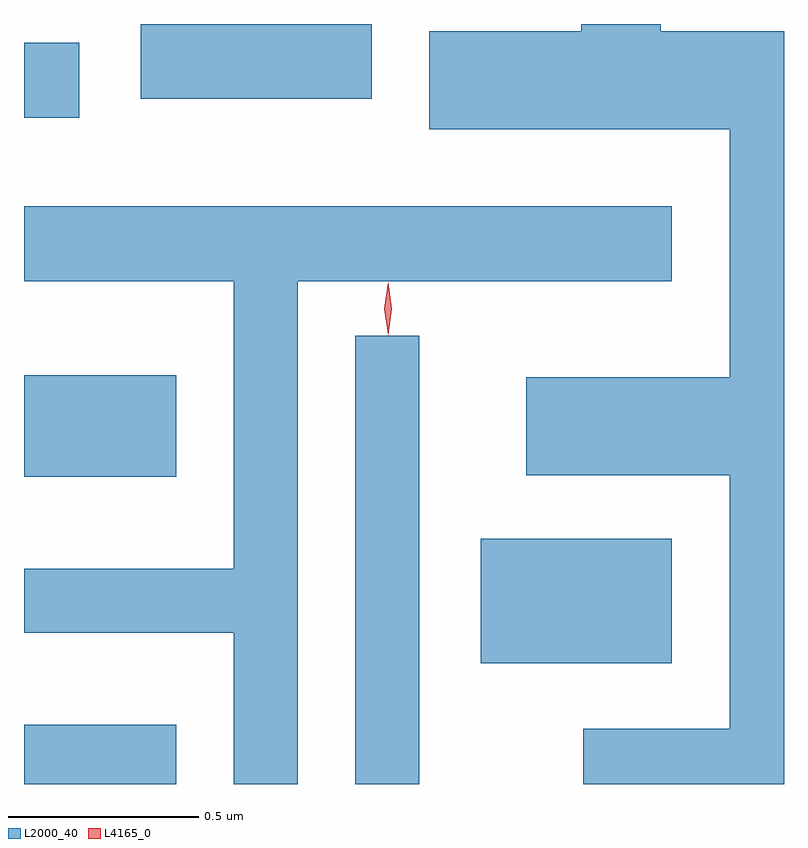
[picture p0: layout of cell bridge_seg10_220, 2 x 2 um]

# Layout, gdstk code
import gdstk
lib = gdstk.Library(unit=1e-6, precision=1e-09)
def R(c, l, rs):  # rectangles x0, y0, x1, y1
    for r in rs: c.add(gdstk.rectangle(r[:2], r[2:], *l))
def P(c, l, *ps):  # polygons
    for p in ps: c.add(gdstk.Polygon(p, *l))
L2000_40 = (2000, 40)
L4165_0 = (4165, 0)

bridge_seg10_220 = lib.new_cell('bridge_seg10_220')
R(bridge_seg10_220, L2000_40, [(1718.809,2140.993,1719.209,2141.149), (1719.681,2140.993,1719.849,2142.173), (1720.011,2141.311,1720.514,2141.639), (1718.809,2141.801,1719.209,2142.069), (1718.809,2142.746,1718.954,2142.944), (1719.116,2142.796,1719.724,2142.993)])
P(bridge_seg10_220, L2000_40, [(1720.809,2142.974),(1720.484,2142.974),(1720.484,2142.993),(1720.276,2142.993),(1720.276,2142.974),(1719.876,2142.974),(1719.876,2142.716),(1720.666,2142.716),(1720.666,2142.064),(1720.131,2142.064),(1720.131,2141.806),(1720.666,2141.806),(1720.666,2141.139),(1720.281,2141.139),(1720.281,2140.993),(1720.809,2140.993)],
  [(1719.529,2142.316),(1720.514,2142.316),(1720.514,2142.514),(1718.809,2142.514),(1718.809,2142.316),(1719.361,2142.316),(1719.361,2141.559),(1718.809,2141.559),(1718.809,2141.391),(1719.361,2141.391),(1719.361,2140.993),(1719.529,2140.993)])
P(bridge_seg10_220, L4165_0, [(1719.767,2142.178),(1719.767,2142.178),(1719.757,2142.244),(1719.767,2142.311),(1719.767,2142.311),(1719.768,2142.311),(1719.777,2142.244),(1719.768,2142.178)],
  [(1719.767,2142.174),(1719.767,2142.175),(1719.757,2142.244),(1719.767,2142.313),(1719.767,2142.314),(1719.768,2142.313),(1719.777,2142.244),(1719.768,2142.175)])

lib.write_gds('bridge_seg10_220.gds')
